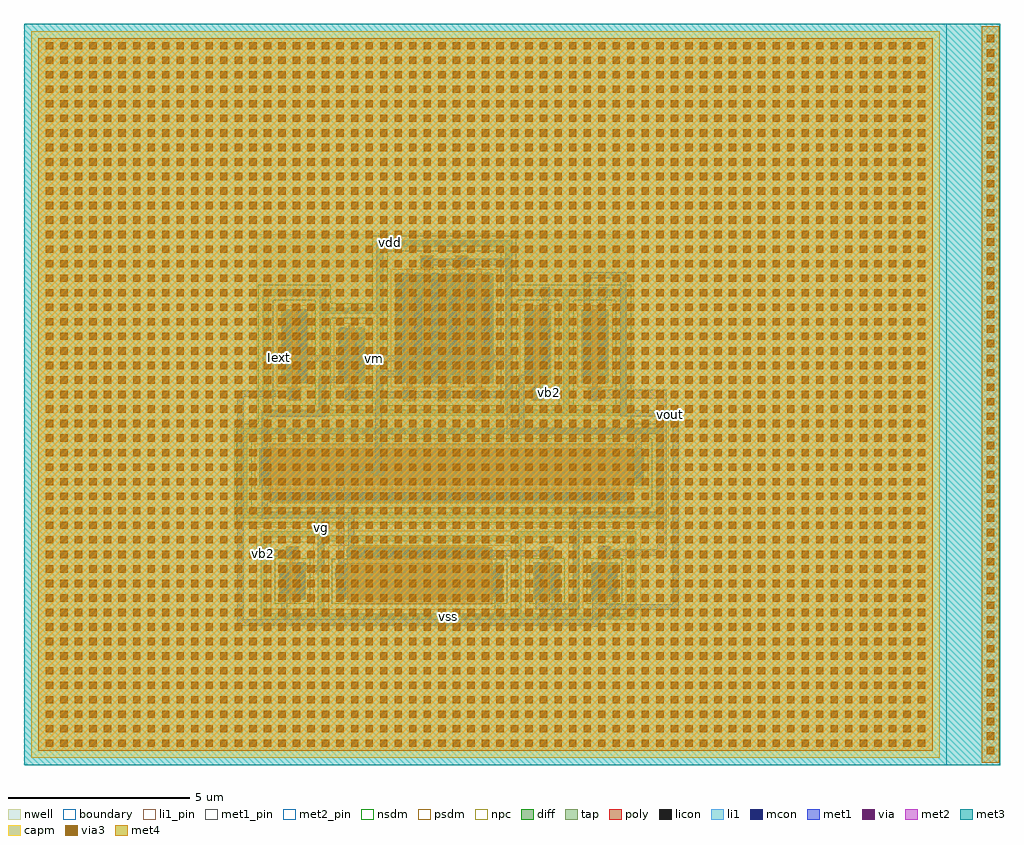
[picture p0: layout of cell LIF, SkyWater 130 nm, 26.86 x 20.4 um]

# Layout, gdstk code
from math import pi, radians
import gdstk
lib = gdstk.Library(unit=1e-6, precision=1e-09)
def R(c, l, rs):  # rectangles x0, y0, x1, y1
    for r in rs: c.add(gdstk.rectangle(r[:2], r[2:], *l))
def A(c, l, x, y, w, h, nx, ny, dx, dy):  # array of equal rectangles
    R(c, l, [(x+i*dx, y+j*dy, x+i*dx+w, y+j*dy+h) for i in range(nx) for j in range(ny)])
nwell = (64, 20)
diff = (65, 20)
tap = (65, 44)
poly = (66, 20)
licon = (66, 44)
li1_pin = (67, 16)
li1 = (67, 20)
mcon = (67, 44)
met1_pin = (68, 16)
met1 = (68, 20)
via = (68, 44)
met2_pin = (69, 16)
met2 = (69, 20)
met3 = (70, 20)
via3 = (70, 44)
met4 = (71, 20)
capm = (89, 44)
nsdm = (93, 44)
psdm = (94, 20)
npc = (95, 20)
boundary = (235, 4)

c_m1 = lib.new_cell('M1')
R(c_m1, nwell, [(-5.98,-1.42,5.98,1.42)])
R(c_m1, diff, [(-5.29,-0.32,5.29,0.68)])
R(c_m1, tap, [(-5.8,-1.24,5.8,-1.07), (-5.8,-1.07,-5.63,1.07), (5.63,-1.07,5.8,1.07), (-5.8,1.07,5.8,1.24)])
R(c_m1, poly, [(-5,-0.805,5,0.81)])
A(c_m1, licon, -4.845, -0.725, 0.17, 0.17, 29, 1, 0.34, 0)
A(c_m1, licon, -5.23, -0.245, 0.17, 0.17, 1, 3, 0, 0.34)
A(c_m1, licon, 5.06, -0.245, 0.17, 0.17, 1, 3, 0, 0.34)
A(c_m1, licon, -5.185, 1.07, 0.17, 0.17, 31, 1, 0.34, 0)
R(c_m1, li1, [(-5,-0.725,5,-0.555), (-5.23,-0.34,-5.06,0.7), (5.06,-0.34,5.23,0.7), (-5.4,1.07,5.4,1.24)])
A(c_m1, mcon, -4.765, -0.725, 0.17, 0.17, 27, 1, 0.36, 0)
R(c_m1, mcon, [(-5.23,-0.085,-5.06,0.085), (5.06,-0.085,5.23,0.085), (-5.23,0.275,-5.06,0.445), (5.06,0.275,5.23,0.445)])
R(c_m1, met1, [(-4.98,-0.755,4.98,-0.525), (-5.26,-0.32,-5.03,0.68), (5.03,-0.145,5.26,0.505)])
R(c_m1, nsdm, [(-5.925,-1.365,5.925,-0.945), (-5.925,-0.945,-5.505,0.945), (5.505,-0.945,5.925,0.945), (-5.925,0.945,5.925,1.365)])
R(c_m1, psdm, [(-5.415,-0.445,5.415,0.805)])
R(c_m1, npc, [(-4.945,-0.825,4.945,-0.455)])
R(c_m1, boundary, [(-5.715,-1.155,5.715,1.155)])

c_m6 = lib.new_cell('M6')
R(c_m6, nwell, [(-1.055,-1.92,1.055,1.92)])
R(c_m6, diff, [(-0.365,-0.82,0.365,1.18)])
R(c_m6, tap, [(-0.875,-1.74,0.875,-1.57), (-0.875,-1.57,-0.705,1.57), (0.705,-1.57,0.875,1.57), (-0.875,1.57,0.875,1.74)])
R(c_m6, poly, [(-0.165,-1.305,0.165,-0.975), (-0.075,-0.975,0.075,1.31)])
A(c_m6, licon, -0.305, -0.755, 0.17, 0.17, 1, 6, 0, 0.34)
A(c_m6, licon, 0.135, -0.755, 0.17, 0.17, 1, 6, 0, 0.34)
R(c_m6, licon, [(-0.085,-1.225,0.085,-1.055), (-0.255,1.57,-0.085,1.74), (0.085,1.57,0.255,1.74)])
R(c_m6, li1, [(-0.165,-1.225,0.165,-1.055), (-0.305,-0.84,-0.135,1.2), (0.135,-0.84,0.305,1.2), (-0.475,1.57,0.475,1.74)])
A(c_m6, mcon, -0.305, -0.625, 0.17, 0.17, 1, 5, 0, 0.36)
A(c_m6, mcon, 0.135, -0.265, 0.17, 0.17, 1, 3, 0, 0.36)
R(c_m6, mcon, [(-0.085,-1.225,0.085,-1.055)])
R(c_m6, met1, [(-0.15,-1.29,0.15,-0.99), (-0.335,-0.82,-0.105,1.18), (0.105,-0.445,0.335,0.805)])
R(c_m6, nsdm, [(-1,-1.865,1,-1.445), (-1,-1.445,-0.58,1.445), (0.58,-1.445,1,1.445), (-1,1.445,1,1.865)])
R(c_m6, psdm, [(-0.49,-0.945,0.49,1.305)])
R(c_m6, npc, [(-0.185,-1.325,0.185,-0.955)])
R(c_m6, boundary, [(-0.79,-1.655,0.79,1.655)])
c_m6.add(gdstk.Label('D', (-0.23,0.205), layer=68, texttype=5))
c_m6.add(gdstk.Label('S', (0.22,0.19), layer=68, texttype=5))
c_m6.add(gdstk.Label('G', (0.005,-1.14), layer=68, texttype=5))
c_m6.add(gdstk.Label('B', (-0.01,1.655), layer=67, texttype=5))

c_m3 = lib.new_cell('M3')
R(c_m3, nwell, [(-2.035,-2.595,2.035,2.595)])
R(c_m3, diff, [(-1.345,-1.5,1.345,1.5)])
R(c_m3, tap, [(-1.855,-2.415,1.855,-2.245), (-1.855,-2.245,-1.685,2.245), (1.685,-2.245,1.855,2.245), (-1.855,2.245,1.855,2.415)])
A(c_m3, poly, -1.125, -1.985, 0.33, 0.33, 3, 1, 0.96, 0)
A(c_m3, poly, -1.035, -1.655, 0.15, 3.285, 3, 1, 0.96, 0)
R(c_m3, poly, [(-0.555,-1.63,-0.405,1.655), (0.405,-1.63,0.555,1.655), (-0.645,1.655,-0.315,1.985), (0.315,1.655,0.645,1.985)])
A(c_m3, licon, -1.045, -1.905, 0.17, 0.17, 3, 1, 0.96, 0)
A(c_m3, licon, -1.285, -1.275, 0.17, 0.17, 6, 8, 0.48, 0.34)
A(c_m3, licon, -1.275, 2.245, 0.17, 0.17, 8, 1, 0.34, 0)
R(c_m3, licon, [(-0.565,1.735,-0.395,1.905), (0.395,1.735,0.565,1.905)])
A(c_m3, li1, -1.125, -1.905, 0.33, 0.17, 3, 1, 0.96, 0)
A(c_m3, li1, -1.285, -1.52, 0.17, 3.04, 6, 1, 0.48, 0)
R(c_m3, li1, [(-0.645,1.735,-0.315,1.905), (0.315,1.735,0.645,1.905), (-1.455,2.245,1.455,2.415)])
A(c_m3, mcon, -1.045, -1.905, 0.17, 0.17, 3, 1, 0.96, 0)
A(c_m3, mcon, -1.285, -1.345, 0.17, 0.17, 3, 8, 0.96, 0.36)
A(c_m3, mcon, -0.805, -0.805, 0.17, 0.17, 3, 5, 0.96, 0.36)
R(c_m3, mcon, [(-0.565,1.735,-0.395,1.905), (0.395,1.735,0.565,1.905)])
R(c_m3, met1_pin, [(-1.29,1.285,0.8,1.455), (0.565,1.735,1.86,1.905)])
A(c_m3, met1, -1.105, -1.935, 0.29, 0.025, 3, 1, 0.96, 0)
A(c_m3, met1, -1.105, -1.74, 0.29, 0.035, 3, 1, 0.96, 0)
A(c_m3, met1, -1.315, -1.5, 0.23, 2.785, 3, 1, 0.96, 0)
A(c_m3, met1, -0.835, -0.67, 0.23, 1.595, 3, 1, 0.96, 0)
A(c_m3, met1, -1.315, 1.455, 0.23, 0.045, 3, 1, 0.96, 0)
R(c_m3, met1, [(-1.105,-1.91,1.86,-1.74), (1.69,-1.74,1.86,1.735), (-0.86,-0.99,-0.6,-0.67), (0.1,-0.99,0.36,-0.67), (1.09,-0.99,1.35,-0.96), (1.06,-0.96,1.38,-0.7), (1.085,-0.7,1.35,-0.67), (-1.315,1.285,0.835,1.455), (-0.625,1.705,-0.335,1.735), (0.335,1.705,0.625,1.735), (-0.625,1.735,1.86,1.905), (-0.625,1.905,-0.335,1.935), (0.335,1.905,0.625,1.935)])
R(c_m3, via, [(-0.805,-0.905,-0.655,-0.755), (0.155,-0.905,0.305,-0.755), (1.145,-0.905,1.295,-0.755)])
R(c_m3, met2_pin, [(-0.6,-0.915,0.1,-0.745)])
R(c_m3, met2, [(1.09,-0.99,1.35,-0.96), (-0.89,-0.96,-0.57,-0.915), (0.07,-0.96,0.39,-0.915), (1.06,-0.96,1.38,-0.915), (-0.89,-0.915,1.38,-0.745), (-0.89,-0.745,-0.57,-0.7), (0.07,-0.745,0.39,-0.7), (1.06,-0.745,1.38,-0.7), (1.09,-0.7,1.35,-0.67)])
R(c_m3, nsdm, [(-1.98,-2.54,1.98,-2.12), (-1.98,-2.12,-1.56,2.12), (1.56,-2.12,1.98,2.12), (-1.98,2.12,1.98,2.54)])
R(c_m3, psdm, [(-1.47,-1.625,1.47,1.625)])
A(c_m3, npc, -1.145, -2.005, 0.37, 0.37, 3, 1, 0.96, 0)
R(c_m3, npc, [(-0.665,1.635,-0.295,2.005), (0.295,1.635,0.665,2.005)])
R(c_m3, boundary, [(-1.77,-2.33,1.77,2.33)])
c_m3.add(gdstk.Label('D', (-0.245,1.37), layer=68, texttype=5))
c_m3.add(gdstk.Label('S', (-0.25,-0.83), layer=69, texttype=5))
c_m3.add(gdstk.Label('G', (1.212,1.82), layer=68, texttype=5))
c_m3.add(gdstk.Label('B', (0.01,2.325), layer=67, texttype=5))

c_m2 = lib.new_cell('M2')
R(c_m2, nwell, [(-1.055,-1.67,1.055,1.67)])
R(c_m2, diff, [(-0.365,-0.57,0.365,0.93)])
R(c_m2, tap, [(-0.875,-1.49,0.875,-1.32), (-0.875,-1.32,-0.705,1.32), (0.705,-1.32,0.875,1.32), (-0.875,1.32,0.875,1.49)])
R(c_m2, poly, [(-0.165,-1.055,0.165,-0.725), (-0.075,-0.725,0.075,1.06)])
A(c_m2, licon, -0.305, -0.415, 0.17, 0.17, 1, 4, 0, 0.34)
A(c_m2, licon, 0.135, -0.415, 0.17, 0.17, 1, 4, 0, 0.34)
R(c_m2, licon, [(-0.085,-0.975,0.085,-0.805), (-0.255,1.32,-0.085,1.49), (0.085,1.32,0.255,1.49)])
R(c_m2, li1, [(-0.165,-0.975,0.165,-0.805), (-0.305,-0.59,-0.135,0.95), (0.135,-0.59,0.305,0.95), (-0.475,1.32,0.475,1.49)])
A(c_m2, mcon, -0.305, -0.445, 0.17, 0.17, 1, 4, 0, 0.36)
R(c_m2, mcon, [(-0.085,-0.975,0.085,-0.805), (0.135,-0.085,0.305,0.085), (0.135,0.275,0.305,0.445)])
R(c_m2, met1, [(-0.15,-1.04,0.15,-0.74), (-0.335,-0.57,-0.105,0.93), (0.105,-0.295,0.335,0.655)])
R(c_m2, nsdm, [(-1,-1.615,1,-1.195), (-1,-1.195,-0.58,1.195), (0.58,-1.195,1,1.195), (-1,1.195,1,1.615)])
R(c_m2, psdm, [(-0.49,-0.695,0.49,1.055)])
R(c_m2, npc, [(-0.185,-1.075,0.185,-0.705)])
R(c_m2, boundary, [(-0.79,-1.405,0.79,1.405)])

sky130_fd_pr__cap_mim_m3 = lib.new_cell('sky130_fd_pr__cap_mim_m3_1_3YPQGE')
R(sky130_fd_pr__cap_mim_m3, met3, [(-13.43,-10.2,13.43,10.2)])
A(sky130_fd_pr__cap_mim_m3, via3, 13.07, -9.9, 0.2, 0.2, 1, 50, 0, 0.4)
A(sky130_fd_pr__cap_mim_m3, via3, -12.83, -9.7, 0.2, 0.2, 61, 49, 0.4, 0.4)
R(sky130_fd_pr__cap_mim_m3, met4, [(12.93,-10.14,13.41,10.14), (-13.035,-9.805,11.575,9.805)])
R(sky130_fd_pr__cap_mim_m3, capm, [(-13.23,-10,11.77,10)])
R(sky130_fd_pr__cap_mim_m3, boundary, [(-13.43,-10.2,11.97,10.2)])

sky130_fd_pr__nfet_01v8_ = lib.new_cell('sky130_fd_pr__nfet_01v8_GSRC26')
R(sky130_fd_pr__nfet_01v8_, diff, [(-2.29,-0.345,2.29,0.655)])
R(sky130_fd_pr__nfet_01v8_, tap, [(-2.8,-1.115,2.8,-0.945), (-2.8,-0.945,-2.63,1.045), (2.63,-0.945,2.8,1.045), (-2.8,1.045,2.8,1.215)])
R(sky130_fd_pr__nfet_01v8_, poly, [(-2,-0.785,2,0.785)])
A(sky130_fd_pr__nfet_01v8_, licon, -1.785, -0.705, 0.17, 0.17, 11, 1, 0.34, 0)
A(sky130_fd_pr__nfet_01v8_, licon, -2.23, -0.27, 0.17, 0.17, 1, 3, 0, 0.34)
A(sky130_fd_pr__nfet_01v8_, licon, 2.06, -0.27, 0.17, 0.17, 1, 3, 0, 0.34)
A(sky130_fd_pr__nfet_01v8_, licon, -2.225, 1.045, 0.17, 0.17, 14, 1, 0.34, 0)
R(sky130_fd_pr__nfet_01v8_, li1, [(-2,-0.705,2,-0.535), (-2.23,-0.365,-2.06,0.675), (2.06,-0.365,2.23,0.675), (-2.33,1.045,2.47,1.215)])
A(sky130_fd_pr__nfet_01v8_, mcon, -1.885, -0.705, 0.17, 0.17, 11, 1, 0.36, 0)
R(sky130_fd_pr__nfet_01v8_, mcon, [(-2.23,-0.11,-2.06,0.06), (2.06,-0.11,2.23,0.06), (-2.23,0.25,-2.06,0.42), (2.06,0.25,2.23,0.42)])
R(sky130_fd_pr__nfet_01v8_, met1, [(-1.98,-0.735,1.98,-0.505), (-2.26,-0.345,-2.03,0.655), (2.03,-0.17,2.26,0.48)])
R(sky130_fd_pr__nfet_01v8_, nsdm, [(-2.415,-0.47,2.415,0.78)])
R(sky130_fd_pr__nfet_01v8_, psdm, [(-2.925,-1.24,2.925,-0.82), (-2.925,-0.82,-2.505,0.92), (2.505,-0.82,2.925,0.92), (-2.925,0.92,2.925,1.34)])
R(sky130_fd_pr__nfet_01v8_, npc, [(-1.885,-0.805,1.885,-0.435)])
R(sky130_fd_pr__nfet_01v8_, boundary, [(-2.715,-1.13,2.715,1.13)])

c_m5 = lib.new_cell('M5')
R(c_m5, diff, [(-0.365,-0.655,0.365,0.345)])
R(c_m5, tap, [(-0.875,-1.215,0.875,-1.045), (-0.875,-1.045,-0.705,1.045), (0.705,-1.045,0.875,1.045), (-0.875,1.045,0.875,1.215)])
R(c_m5, poly, [(-0.075,-0.785,0.075,0.455), (-0.165,0.455,0.165,0.785)])
A(c_m5, licon, -0.305, -0.58, 0.17, 0.17, 1, 3, 0, 0.34)
A(c_m5, licon, 0.135, -0.58, 0.17, 0.17, 1, 3, 0, 0.34)
R(c_m5, licon, [(-0.255,-1.215,-0.085,-1.045), (0.085,-1.215,0.255,-1.045), (-0.085,0.535,0.085,0.705)])
R(c_m5, li1, [(-0.475,-1.215,0.475,-1.045), (-0.305,-0.675,-0.135,0.365), (0.135,-0.675,0.305,0.365), (-0.165,0.535,0.165,0.705)])
R(c_m5, mcon, [(-0.305,-0.42,-0.135,-0.25), (0.135,-0.42,0.305,-0.25), (-0.305,-0.06,-0.135,0.11), (0.135,-0.06,0.305,0.11), (-0.085,0.535,0.085,0.705)])
R(c_m5, met1, [(-0.335,-0.655,-0.105,0.345), (0.105,-0.48,0.335,0.17), (-0.155,0.485,0.15,0.775)])
R(c_m5, nsdm, [(-0.49,-0.78,0.49,0.47)])
R(c_m5, psdm, [(-1,-1.34,1,-0.92), (-1,-0.92,-0.58,0.92), (0.58,-0.92,1,0.92), (-1,0.92,1,1.34)])
R(c_m5, npc, [(-0.185,0.435,0.185,0.805)])
R(c_m5, boundary, [(-0.79,-1.13,0.79,1.13)])
c_m5.add(gdstk.Label('D', (-0.225,-0.155), layer=68, texttype=5))
c_m5.add(gdstk.Label('S', (0.22,-0.16), layer=68, texttype=5))
c_m5.add(gdstk.Label('G', (0,0.615), layer=68, texttype=5))
c_m5.add(gdstk.Label('B', (0.005,-1.135), layer=67, texttype=5))

lif = lib.new_cell('LIF')
R(lif, nwell, [(-1.36,4.335,9.02,6.22)])
R(lif, tap, [(2.115,5.875,5.66,6.045)])
R(lif, li1_pin, [(-0.84,-4.39,8.695,-4.22)])
R(lif, li1, [(-0.84,-4.39,8.695,-4.22), (-0.675,-4.22,-0.505,-3.675), (5.205,-4.22,5.375,-3.585), (6.775,-4.22,6.945,-3.72), (8.355,-4.22,8.525,-3.74), (0.385,4.025,2.115,4.195), (0.385,4.195,0.555,4.53), (1.945,4.195,2.115,5.875), (5.505,4.525,8.385,4.695), (-0.76,4.53,0.555,4.7), (5.505,4.695,5.675,5.875), (1.945,5.875,5.675,6.045)])
R(lif, mcon, [(6.515,4.525,6.685,4.695), (8.09,4.525,8.26,4.695)])
R(lif, met1_pin, [(-1.035,2.735,-0.41,2.905)])
R(lif, met1, [(7.89,-4.58,8.11,-4.555), (-1.88,-4.56,-1.71,-4.555), (-1.88,-4.555,8.11,-4.405), (-1.88,-4.405,8.115,-4.385), (-1.88,-4.385,-1.71,1.74), (7.885,-4.385,8.115,-4.125), (7.885,-4.125,10.26,-4.12), (6.335,-4.12,7.52,-4.04), (7.88,-4.12,10.26,-3.965), (6.33,-4.04,7.52,-3.96), (7.88,-3.965,8.115,-3.96), (10.1,-3.965,10.26,1.205), (6.33,-3.96,6.535,-3.82), (7.36,-3.96,7.52,-1.58), (7.885,-3.96,8.115,-3.825), (7.915,-3.825,8.075,-3.645), (6.33,-3.82,6.505,-3.75), (0.815,-3.255,1.135,-2.995), (-0.235,-3.065,0.505,-2.895), (0.335,-2.895,0.505,-1.6), (-1.32,-2.685,-1,-2.64), (1.125,-2.65,1.965,-2.645), (2.32,-2.65,6.81,-2.645), (1.125,-2.645,6.81,-2.48), (8.045,-2.645,8.365,-2.385), (-1.32,-2.64,-0.2,-2.47), (1.17,-2.48,1.34,-1.6), (-1.32,-2.47,-1,-2.425), (-1.21,-1.615,-1.05,-1.595), (0.335,-1.6,1.34,-1.595), (-1.21,-1.595,1.34,-1.43), (7.36,-1.58,9.835,-1.42), (-1.21,-1.43,0.505,-1.425), (-1.21,-1.425,-1.05,-1.115), (9.675,-1.42,9.835,0.73), (-1.21,-1.115,-0.9,-1.08), (-1.21,-1.08,-0.775,-0.915), (-1.21,-0.915,-0.96,-0.885), (-1.21,-0.885,-1.015,-0.135), (1.87,-0.415,2.13,-0.095), (9,-0.27,9.32,-0.01), (-1.21,-0.135,-1.05,0.16), (1.915,-0.095,2.085,1.705), (-1.21,0.16,-1.045,1.19), (5.855,0.73,9.835,0.89), (5.855,0.89,6.015,2.135), (-1.21,1.19,0.53,1.36), (8.655,1.205,10.26,1.365), (0.36,1.36,0.53,2.125), (8.66,1.365,8.82,5.005), (7.775,1.665,8.135,1.965), (1.29,1.705,2.845,1.875), (6.25,1.72,6.57,1.98), (-1.88,1.74,-0.22,1.91), (1.94,1.875,2.11,2.285), (0.36,2.125,1.14,2.295), (5.855,2.135,6.085,2.195), (5.855,2.195,6.24,2.355), (1.94,2.285,2.71,2.455), (-0.24,2.64,0.02,2.96), (1.325,2.64,1.585,2.96), (-1.035,2.735,-0.41,2.905), (8.09,3.715,8.26,4.465), (6.515,3.75,6.685,4.465), (7.65,3.93,7.81,5.005), (6.485,4.465,6.715,4.755), (8.06,4.465,8.29,4.755), (7.65,5.005,8.82,5.165)])
R(lif, via, [(0.9,-3.2,1.05,-3.05), (-1.235,-2.63,-1.085,-2.48), (8.13,-2.59,8.28,-2.44), (1.925,-0.33,2.075,-0.18), (9.085,-0.215,9.235,-0.065), (7.88,1.74,8.03,1.89), (6.335,1.775,6.485,1.925), (-0.185,2.725,-0.035,2.875), (1.38,2.725,1.53,2.875)])
R(lif, met2_pin, [(6.58,1.735,6.81,1.965)])
R(lif, met2, [(0.845,-3.285,1.105,-2.965), (0.89,-2.965,1.06,-0.34), (-1.29,-2.715,-1.03,-2.395), (8.075,-2.675,8.335,-2.63), (9.675,-2.66,9.915,-2.63), (8.075,-2.63,9.915,-2.45), (8.075,-2.45,8.335,-2.355), (9.675,-2.45,9.915,1.695), (1.84,-0.385,2.16,-0.34), (0.89,-0.34,2.16,-0.17), (9.03,-0.3,9.29,0.02), (1.84,-0.17,2.16,-0.125), (9.075,0.02,9.245,0.695), (5.525,0.695,9.245,0.865), (5.525,0.865,5.695,2.715), (7.805,1.635,8.105,1.695), (6.28,1.69,6.54,1.735), (7.805,1.695,9.915,1.935), (6.28,1.735,6.81,1.965), (7.805,1.935,8.105,1.995), (6.28,1.965,6.54,2.01), (-0.27,2.67,0.05,2.715), (1.295,2.67,1.615,2.715), (-0.27,2.715,5.695,2.885), (-0.27,2.885,0.05,2.93), (1.295,2.885,1.615,2.93)])
R(lif, nsdm, [(-1.31,1.005,8.955,1.09), (0.255,4.32,0.27,4.4), (1.99,5.75,5.785,6.17)])
lif.add(gdstk.Reference(c_m1, (4.015,-0.36)))
lif.add(gdstk.Reference(c_m6, (-0.31,2.955), rotation=pi, x_reflection=True))
lif.add(gdstk.Reference(c_m6, (7.955,2.955)))
lif.add(gdstk.Reference(c_m3, (3.81,3.63)))
lif.add(gdstk.Reference(c_m2, (1.255,2.705)))
lif.add(gdstk.Reference(c_m6, (6.38,2.955)))
lif.add(gdstk.Reference(sky130_fd_pr__cap_mim_m3, (5.675,1.805)))
lif.add(gdstk.Reference(sky130_fd_pr__nfet_01v8_, (3.135,-3.18), x_reflection=True))
lif.add(gdstk.Reference(c_m5, (-0.365,-3.175), rotation=pi, x_reflection=True))
lif.add(gdstk.Reference(c_m5, (6.64,-3.175)))
lif.add(gdstk.Reference(c_m5, (8.22,-3.175)))
lif.add(gdstk.Label('vm', (1.895,2.785), layer=69, texttype=5))
lif.add(gdstk.Label('vg', (0.42,-1.86), layer=68, texttype=5))
lif.add(gdstk.Label('vdd', (2.34,5.98), layer=67, texttype=5))
lif.add(gdstk.Label('Iext', (-0.722,2.82), layer=68, texttype=5))
lif.add(gdstk.Label('vss', (3.927,-4.305), layer=67, texttype=5))
lif.add(gdstk.Label('vout', (10.04,1.255), layer=68, texttype=5))
lif.add(gdstk.Label('vb2', (6.695,1.85), layer=69, texttype=5))
lif.add(gdstk.Label('vb2', (-1.165,-2.565), layer=69, texttype=5))

lib.write_gds('LIF.gds')
